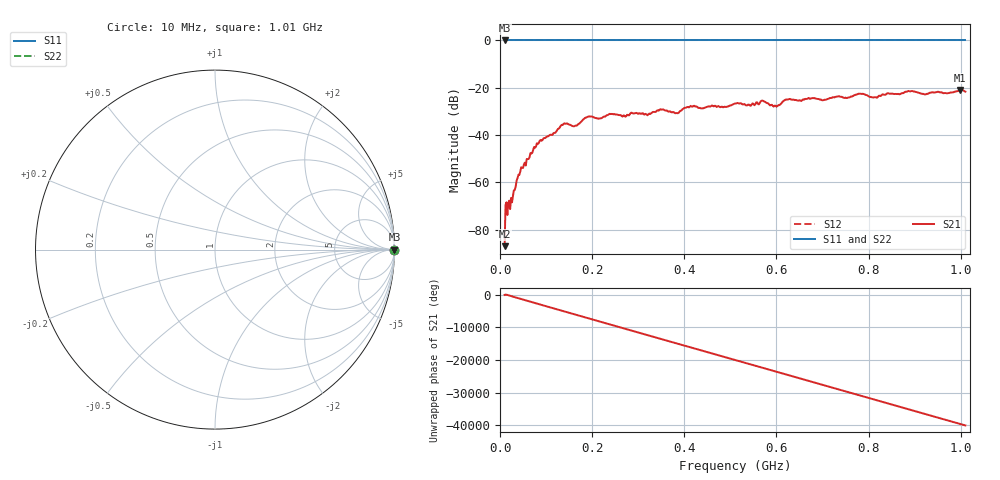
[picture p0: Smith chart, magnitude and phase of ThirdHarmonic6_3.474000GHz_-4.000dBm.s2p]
! 8/17/2025 11:16:45 AM
! C:\ANRITSUVNA\TEMP\TEMP.S2P
! CHANNEL.1
! TR.MEASUREMENT
! RAW.DATA
! RF.CORRECTION.OFF
! AVERAGING.OFF
! IF.BANDWIDTH: 5KHZ
! SWEEPTYPE:  FREQ.SWEEP(Linear)
! Reference Plane Port Info
! PORT:  PORT1  PORT2
! DISTANCE:  0  m  0  m
! TIME:  0  s  0  s
! PHASE.OFFSET:  0  deg.  0  deg.
! LOSS:  0  dB  0  dB
! REF.LOSS:  0  dB  0  dB
! REF.FREQ:  0  Hz  0  Hz
! Power Info
! POWER:  -20  dBm  -20  dBm
! EFF.POWER:  -20  dBm  -20  dBm
! SOURCE.ATTEN:  0  dB  0  dB
! TEST.ATTEN:  0  dB  0  dB
# GHZ S RI R 50.0
! FREQ.GHZ  S11RE  S11IM  S21RE  S21IM  S12RE  S12IM  S22RE  S22IM
!; PortSelection: Port_12
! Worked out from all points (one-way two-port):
!   501 points, 10 MHz to 1.01 GHz, reference 50 ohm
!   highest |S21| = -20.91 dB at 998 MHz (marker M1); lowest = -86.9 dB at 10 MHz (marker M2)
!   lowest |S11| = 0.0 dB at 10 MHz (marker M3)
!   |S11| at or under -10 dB: nowhere
!   |S22| runs from 0.0 to 0.0 dB; largest |S21 - S12| = 1.1
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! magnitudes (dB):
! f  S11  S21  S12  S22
! 10 MHz  0.0  -86.9  0.0  0.0
! 16 MHz  0.0  -73.7  0.0  0.0
! 26 MHz  0.0  -68.4  0.0  0.0
! 42 MHz  0.0  -56.8  0.0  0.0
! 76 MHz  0.0  -45.3  0.0  0.0
! 136 MHz  0.0  -35.7  0.0  0.0
! 162 MHz  0.0  -36.2  0.0  0.0
! 178 MHz  0.0  -34.0  0.0  0.0
! 194 MHz  0.0  -32.1  0.0  0.0
! 322 MHz  0.0  -31.3  0.0  0.0
! 344 MHz  0.0  -29.7  0.0  0.0
! 384 MHz  0.0  -30.7  0.0  0.0
! 418 MHz  0.0  -28.0  0.0  0.0
! 510 MHz  0.0  -26.6  0.0  0.0
! 570 MHz  0.0  -25.4  0.0  0.0
! 598 MHz  0.0  -27.6  0.0  0.0
! 624 MHz  0.0  -24.9  0.0  0.0
! 678 MHz  0.0  -24.4  0.0  0.0
! 814 MHz  0.0  -23.9  0.0  0.0
! 844 MHz  0.0  -22.4  0.0  0.0
! 998 MHz  0.0  -20.9  0.0  0.0
! 1.01 GHz  0.0  -21.6  0.0  0.0
